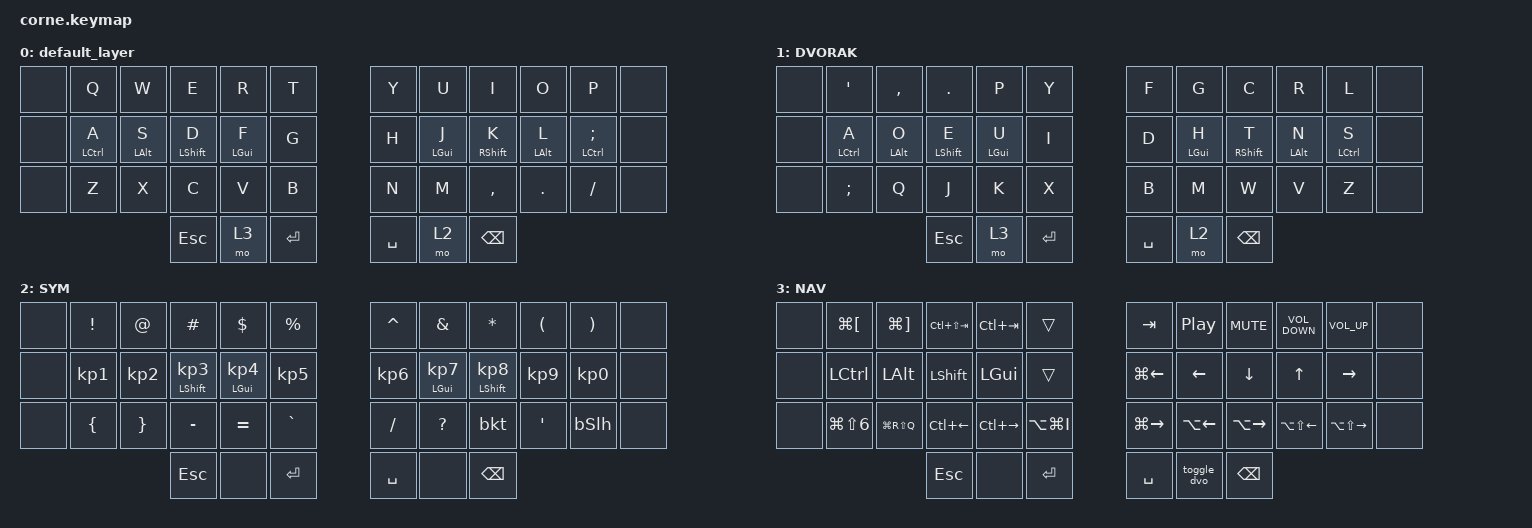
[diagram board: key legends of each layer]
/*
 * Copyright (c) 2020 The ZMK Contributors
 *
 * SPDX-License-Identifier: MIT
 */

#include <behaviors.dtsi>
#include <dt-bindings/zmk/bt.h>
#include <dt-bindings/zmk/keys.h>

#define BASE 0
#define DVORAK 1
#define SYM 3
#define NAV 4
#define SYSTEM 2

&mt {
    tapping-term-ms = <300>;
    require-prior-idle-ms = <125>;
    quick-tap-ms = <200>;
};

&lt { tapping-term-ms = <125>; };

/ {
    behaviors {
        hm: homerow_mods {
            compatible = "zmk,behavior-hold-tap";
            #binding-cells = <2>;
            tapping-term-ms = <150>;
            quick-tap-ms = <0>;
            flavor = "tap-preferred";
            bindings = <&kp>, <&kp>;
        };

        l_pht: left_positional_hold_tap {
            compatible = "zmk,behavior-hold-tap";
            #binding-cells = <2>;
            flavor = "tap-unless-interrupted";
            tapping-term-ms = <130>;                        // <---[[produces tap if held longer than tapping-term-ms]]
            quick-tap-ms = <200>;
            bindings = <&kp>, <&kp>;

            hold-trigger-key-positions = <5 6 7 8 9 5 6 7 8 9 15 16 17 18 19 25 26 27 28 29 34 35 36 37>;
        };

        r_pht: right_positional_hold_tap {
            compatible = "zmk,behavior-hold-tap";
            #binding-cells = <2>;
            flavor = "tap-unless-interrupted";
            tapping-term-ms = <130>;                        // <---[[produces tap if held longer than tapping-term-ms]]
            quick-tap-ms = <200>;
            bindings = <&kp>, <&kp>;

            hold-trigger-key-positions = <0 1 2 3 4 0 1 2 3 4 10 11 12 13 14 20 21 22 23 24 30 31 32 33>;
        };

        bkt: bkt {
            compatible = "zmk,behavior-tap-dance";
            label = "BKT";
            #binding-cells = <0>;
            bindings = <&kp LEFT_BRACKET>, <&kp RIGHT_BRACKET>;

            tapping-term-ms = <180>;
        };

        bSlh: bSlh {
            compatible = "zmk,behavior-tap-dance";
            label = "BSLH";
            #binding-cells = <0>;
            bindings = <&kp PIPE>, <&kp BACKSLASH>;
        };
    };

    combos {
        compatible = "zmk,combos";

        off {
            bindings = <&soft_off>;
            key-positions = <25 34>;
        };

        ClearAllBtProfile {
            bindings = <&bt BT_CLR_ALL>;
            key-positions = <1 10>;
        };
    };

    macros {
        toggle_dvo: toggle_dvo {
            compatible = "zmk,behavior-macro";
            #binding-cells = <0>;
            bindings = <&macro_tap>, <&kp LC(SPACE) &tog 1>;

            label = "TOGGLE_DVO";
        };
    };

    keymap {
        compatible = "zmk,keymap";

        default_layer {
            // -----------------------------------------------------------------------------------------
            // |  xxx |  Q  |  W  |  E  |  R  |  T  |   |  Y  |  U   |  I  |  O  |  P  | xxx |
            // |  xxx |  A  |  S  |  D  |  F  |  G  |   |  H  |  J   |  K  |  L  |  ;  | xxx |
            // |  xxx |  Z  |  X  |  C  |  V  |  B  |   |  N  |  M   |  ,  |  .  |  /  | xxx |
            //                    | esc | nav | ent |   | spc | sym  | bspc |

            bindings = <
&none  &kp Q        &kp W           &kp E         &kp R       &kp T        &kp Y      &kp U       &kp I          &kp O           &kp P           &none
&none  &hm LCTRL A  &hm LEFT_ALT S  &hm LSHIFT D  &hm LGUI F  &kp G        &kp H      &hm LGUI J  &hm RSHIFT K   &hm LEFT_ALT L  &hm LCTRL SEMI  &none
&none  &kp Z        &kp X           &kp C         &kp V       &kp B        &kp N      &kp M       &kp COMMA      &kp DOT         &kp FSLH        &none
                                    &kp ESC       &mo 3       &kp ENTER    &kp SPACE  &mo 2       &kp BACKSPACE
            >;
        };

        DVORAK {
            bindings = <
&none  &kp SQT      &kp COMMA       &kp DOT       &kp P       &kp Y        &kp F      &kp G       &kp C          &kp R           &kp L        &none
&none  &hm LCTRL A  &hm LEFT_ALT O  &hm LSHIFT E  &hm LGUI U  &kp I        &kp D      &hm LGUI H  &hm RSHIFT T   &hm LEFT_ALT N  &hm LCTRL S  &none
&none  &kp SEMI     &kp Q           &kp J         &kp K       &kp X        &kp B      &kp M       &kp W          &kp V           &kp Z        &none
                                    &kp ESC       &mo 3       &kp ENTER    &kp SPACE  &mo 2       &kp BACKSPACE
            >;
        };

        SYM {
            bindings = <
&none  &kp EXCL   &kp AT     &kp POUND         &kp DLLR        &kp PRCNT    &kp CARET  &kp AMPS        &kp STAR          &kp LPAR   &kp RPAR   &none
&none  &kp KP_N1  &kp KP_N2  &mt LSHIFT KP_N3  &mt LGUI KP_N4  &kp KP_N5    &kp KP_N6  &mt LGUI KP_N7  &mt LSHIFT KP_N8  &kp KP_N9  &kp KP_N0  &none
&none  &kp LBRC   &kp RBRC   &kp MINUS         &kp EQUAL       &kp GRAVE    &kp SLASH  &kp QUESTION    &bkt              &kp SQT    &bSlh      &none
                             &kp ESC           &none           &kp ENTER    &kp SPACE  &none           &kp BACKSPACE
            >;
        };

        NAV {
            bindings = <
&none  &kp LG(LBKT)          &kp LG(RBKT)   &kp LC(LS(TAB))  &kp LC(TAB)    &trans           &kp TAB        &kp C_PP      &kp K_MUTE     &kp C_VOLUME_DOWN  &kp C_VOLUME_UP    &none
&none  &kp LCTRL             &kp LALT       &kp LSHIFT       &kp LGUI       &trans           &kp LG(LEFT)   &kp LEFT      &kp DOWN       &kp UP             &kp RIGHT          &none
&none  &kp LG(LS(NUMBER_6))  &kp LG(RS(Q))  &kp LC(LEFT)     &kp LC(RIGHT)  &kp LA(LG(I))    &kp LG(RIGHT)  &kp LA(LEFT)  &kp LA(RIGHT)  &kp LA(LS(LEFT))   &kp LA(LS(RIGHT))  &none
                                            &kp ESC          &none          &kp ENTER        &kp SPACE      &toggle_dvo   &kp BACKSPACE
            >;
        };
    };
};
